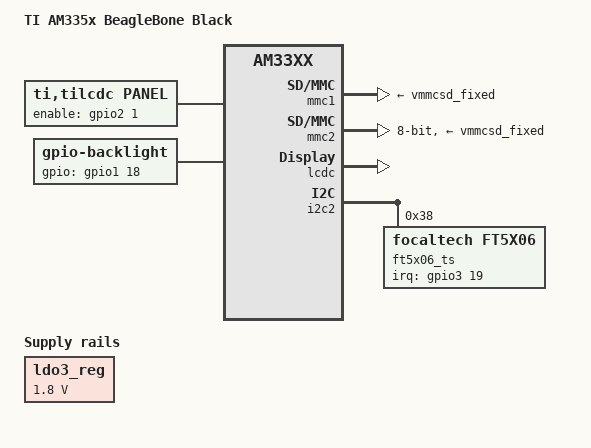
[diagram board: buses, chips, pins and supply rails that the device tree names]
/*
 * Copyright (C) 2015 Jumpnow Technologies, LLC - http://jumpnowtek.com
 *
 * This program is free software; you can redistribute it and/or modify
 * it under the terms of the GNU General Public License version 2 as
 * published by the Free Software Foundation.
 */

/dts-v1/;

#include "am33xx.dtsi"
#include "am335x-bone-common.dtsi"
#include "bbb-spi1-spidev.dtsi"
#include "bbb-i2c1.dtsi"
#include "bbb-i2c2.dtsi"
#include "bbb-uart4.dtsi"

/ {
	model = "TI AM335x BeagleBone Black";
	compatible = "ti,am335x-bone-black", "ti,am335x-bone", "ti,am33xx";
};

&ldo3_reg {
	regulator-min-microvolt = <1800000>;
	regulator-max-microvolt = <1800000>;
	regulator-always-on;
};

&mmc1 {
	vmmc-supply = <&vmmcsd_fixed>;
};

&mmc2 {
	vmmc-supply = <&vmmcsd_fixed>;
	pinctrl-names = "default";
	pinctrl-0 = <&emmc_pins>;
	bus-width = <8>;
	status = "okay";
};

&am33xx_pinmux {
	lcd_pins: lcd_pins {
		pinctrl-single,pins = <
			AM33XX_IOPAD(0x8a0, PIN_OUTPUT | MUX_MODE0)            /* P9.45, lcd_data0 */
			AM33XX_IOPAD(0x8a4, PIN_OUTPUT | MUX_MODE0)            /* P9.46, lcd_data1 */
			AM33XX_IOPAD(0x8a8, PIN_OUTPUT | MUX_MODE0)            /* P9.43, lcd_data2 */
			AM33XX_IOPAD(0x8ac, PIN_OUTPUT | MUX_MODE0)            /* P9.44, lcd_data3 */
			AM33XX_IOPAD(0x8b0, PIN_OUTPUT | MUX_MODE0)            /* P9.41, lcd_data4 */
			AM33XX_IOPAD(0x8b4, PIN_OUTPUT | MUX_MODE0)            /* P9.42, lcd_data5 */
			AM33XX_IOPAD(0x8b8, PIN_OUTPUT | MUX_MODE0)            /* P9.39, lcd_data6 */
			AM33XX_IOPAD(0x8bc, PIN_OUTPUT | MUX_MODE0)            /* P9.40, lcd_data7 */
			AM33XX_IOPAD(0x8c0, PIN_OUTPUT | MUX_MODE0)            /* P9.37, lcd_data8 */
			AM33XX_IOPAD(0x8c4, PIN_OUTPUT | MUX_MODE0)            /* P9.38, lcd_data9 */
			AM33XX_IOPAD(0x8c8, PIN_OUTPUT | MUX_MODE0)            /* P9.36, lcd_data10 */
			AM33XX_IOPAD(0x8cc, PIN_OUTPUT | MUX_MODE0)            /* P9.34, lcd_data11 */
			AM33XX_IOPAD(0x8d0, PIN_OUTPUT | MUX_MODE0)            /* P9.35, lcd_data12 */
			AM33XX_IOPAD(0x8d4, PIN_OUTPUT | MUX_MODE0)            /* P9.33, lcd_data13 */
			AM33XX_IOPAD(0x8d8, PIN_OUTPUT | MUX_MODE0)            /* P9.31, lcd_data14 */
			AM33XX_IOPAD(0x8dc, PIN_OUTPUT | MUX_MODE0)            /* P9.32, lcd_data15 */
			AM33XX_IOPAD(0x820, PIN_OUTPUT | MUX_MODE1)            /* P9.19, lcd_data23 */
			AM33XX_IOPAD(0x824, PIN_OUTPUT | MUX_MODE1)            /* P9.13, lcd_data22 */
			AM33XX_IOPAD(0x828, PIN_OUTPUT | MUX_MODE1)            /* P9.14, lcd_data21 */
			AM33XX_IOPAD(0x82c, PIN_OUTPUT | MUX_MODE1)            /* P9.17, lcd_data20 */
			AM33XX_IOPAD(0x830, PIN_OUTPUT | MUX_MODE1)            /* P9.12, lcd_data19 */
			AM33XX_IOPAD(0x834, PIN_OUTPUT | MUX_MODE1)            /* P9.11, lcd_data18 */
			AM33XX_IOPAD(0x838, PIN_OUTPUT | MUX_MODE1)            /* P9.16, lcd_data17 */
			AM33XX_IOPAD(0x83c, PIN_OUTPUT | MUX_MODE1)            /* P9.15, lcd_data16 */
			AM33XX_IOPAD(0x8e0, PIN_OUTPUT_PULLDOWN | MUX_MODE0)   /* P9.27, lcd_vsync */
			AM33XX_IOPAD(0x8e4, PIN_OUTPUT_PULLDOWN | MUX_MODE0)   /* P9.29, lcd_hsync */
			AM33XX_IOPAD(0x8e8, PIN_OUTPUT_PULLDOWN | MUX_MODE0)   /* P9.28, lcd_pclk */
			AM33XX_IOPAD(0x8ec, PIN_OUTPUT_PULLDOWN | MUX_MODE0)   /* P9.30, lcd_ac_bias_en */
			/* LCD enable */
			AM33XX_IOPAD(0x88c, PIN_OUTPUT_PULLUP | MUX_MODE7)     /* P8.19, gpio2[1] */
		>;
	};

	backlight_pin: backlight_pin {
		pinctrl-single,pins = < AM33XX_IOPAD(0x848, PIN_OUTPUT_PULLUP | MUX_MODE7) >; /* P9.14, gpio1[18] */
	};

	touchscreen_pins: touchscreen_pins {
		pinctrl-single,pins = < AM33XX_IOPAD(0x9a4, PIN_INPUT_PULLUP | MUX_MODE7) >; /* P9.27, gpio3[19] */
	};
};

&lcdc {
	status = "okay";
};

/ {
	lcd0: display {
		status = "okay";
		compatible = "ti,tilcdc,panel";
		label = "lcd";
		pinctrl-names = "default";
		pinctrl-0 = <&lcd_pins>;
		enable-gpios = <&gpio2 1 GPIO_ACTIVE_HIGH>; /* P8.19 */

		panel-info {
			ac-bias           = <255>;
			ac-bias-intrpt    = <0>;
			dma-burst-sz      = <16>;
			bpp               = <32>;
			fdd               = <0x80>;
			sync-edge         = <0>;
			sync-ctrl         = <0>;
			raster-order      = <0>;
			fifo-th           = <0>;
		};

		display-timings {
			native-mode = <&timing0>;
			timing0: 800x480 {
				clock-frequency = <45000000>;
				hactive = <800>;
				vactive = <480>;
				hfront-porch = <40>;
				hback-porch = <40>;
				hsync-len = <48>;
				vback-porch = <29>;
				vfront-porch = <13>;
				vsync-len = <3>;
				hsync-active = <0>;
				vsync-active = <0>;
			};
		};
	};

	backlight {
		status = "okay";
		compatible = "gpio-backlight";
		pinctrl-names = "default";
		pinctrl-0 = <&backlight_pin>;
		gpios = <&gpio1 18 GPIO_ACTIVE_HIGH>; /* P9.14 */
		default-on;
	};
};

&i2c2 {
	ft5x06_ts: ft5x06_ts@38 {
		compatible = "focaltech,ft5x06";
		pinctrl-names = "default";
		pinctrl-0 = <&touchscreen_pins>;
		reg = <0x38>;
		interrupt-parent = <&gpio3>;
		interrupts = <19 0>; /* P9.27 */
		xmin = <0>;
		xmax = <799>;
		xfuzz = <0>;
		ymin = <0>;
		ymax = <479>;
		yfuzz = <0>;
		/* multitouch; */
	};
};

&rtc {
	system-power-controller;
};
